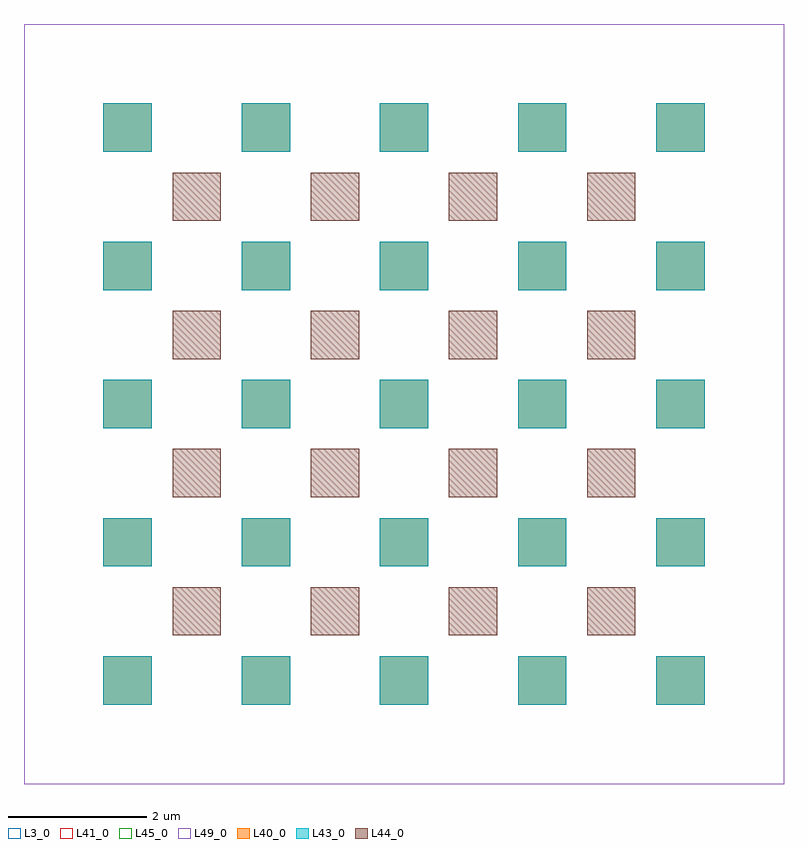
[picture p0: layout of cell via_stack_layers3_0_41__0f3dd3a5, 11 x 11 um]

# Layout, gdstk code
import gdstk
lib = gdstk.Library(unit=1e-6, precision=1e-09)
def R(c, l, rs):  # rectangles x0, y0, x1, y1
    for r in rs: c.add(gdstk.rectangle(r[:2], r[2:], *l))
L3_0 = (3, 0)
L40_0 = (40, 0)
L41_0 = (41, 0)
L43_0 = (43, 0)
L44_0 = (44, 0)
L45_0 = (45, 0)
L49_0 = (49, 0)

rectangle_layer3_0_size1 = lib.new_cell('rectangle_layer3_0_size11_11')
R(rectangle_layer3_0_size1, L3_0, [(0,0,11,11)])

compass_layer3_0_size11_ = lib.new_cell('compass_layer3_0_size11_11')
compass_layer3_0_size11_.add(gdstk.Reference(rectangle_layer3_0_size1, (-5.5,-5.5)))

rectangle_layer41_0_size = lib.new_cell('rectangle_layer41_0_size11_11')
R(rectangle_layer41_0_size, L41_0, [(0,0,11,11)])

compass_layer41_0_size11 = lib.new_cell('compass_layer41_0_size11_11')
compass_layer41_0_size11.add(gdstk.Reference(rectangle_layer41_0_size, (-5.5,-5.5)))

rectangle_layer45_0_size = lib.new_cell('rectangle_layer45_0_size11_11')
R(rectangle_layer45_0_size, L45_0, [(0,0,11,11)])

compass_layer45_0_size11 = lib.new_cell('compass_layer45_0_size11_11')
compass_layer45_0_size11.add(gdstk.Reference(rectangle_layer45_0_size, (-5.5,-5.5)))

rectangle_layer49_0_size = lib.new_cell('rectangle_layer49_0_size11_11')
R(rectangle_layer49_0_size, L49_0, [(0,0,11,11)])

compass_layer49_0_size11 = lib.new_cell('compass_layer49_0_size11_11')
compass_layer49_0_size11.add(gdstk.Reference(rectangle_layer49_0_size, (-5.5,-5.5)))

via_layer40_0 = lib.new_cell('via_layer40_0')
R(via_layer40_0, L40_0, [(-0.35,-0.35,0.35,0.35)])

via_enclosure2_layer44_0 = lib.new_cell('via_enclosure2_layer44_0')
R(via_enclosure2_layer44_0, L44_0, [(-0.35,-0.35,0.35,0.35)])

via_layer43_0 = lib.new_cell('via_layer43_0')
R(via_layer43_0, L43_0, [(-0.35,-0.35,0.35,0.35)])

via_stack_layers3_0_41__ = lib.new_cell('via_stack_layers3_0_41__0f3dd3a5')
via_stack_layers3_0_41__.add(gdstk.Reference(compass_layer3_0_size11_, (0,0)))
via_stack_layers3_0_41__.add(gdstk.Reference(compass_layer41_0_size11, (0,0)))
via_stack_layers3_0_41__.add(gdstk.Reference(compass_layer45_0_size11, (0,0)))
via_stack_layers3_0_41__.add(gdstk.Reference(compass_layer49_0_size11, (0,0)))
r = gdstk.Reference(via_layer40_0, (-4,-4)); r.repetition = gdstk.Repetition(5, 5, v1=(2,0), v2=(0,2)); via_stack_layers3_0_41__.add(r)
r = gdstk.Reference(via_enclosure2_layer44_0, (-3,-3)); r.repetition = gdstk.Repetition(4, 4, v1=(2,0), v2=(0,2)); via_stack_layers3_0_41__.add(r)
r = gdstk.Reference(via_layer43_0, (-4,-4)); r.repetition = gdstk.Repetition(5, 5, v1=(2,0), v2=(0,2)); via_stack_layers3_0_41__.add(r)

lib.write_gds('via_stack_layers3_0_41__0f3dd3a5.gds')
